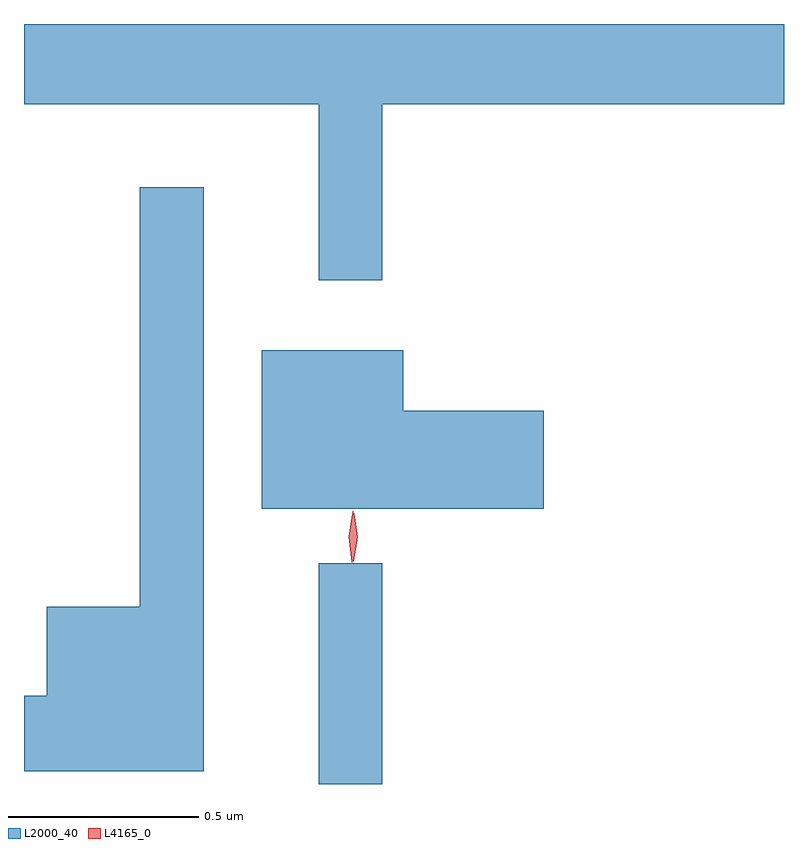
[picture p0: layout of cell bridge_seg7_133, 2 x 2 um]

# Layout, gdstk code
import gdstk
lib = gdstk.Library(unit=1e-6, precision=1e-09)
def R(c, l, rs):  # rectangles x0, y0, x1, y1
    for r in rs: c.add(gdstk.rectangle(r[:2], r[2:], *l))
def P(c, l, *ps):  # polygons
    for p in ps: c.add(gdstk.Polygon(p, *l))
L2000_40 = (2000, 40)
L4165_0 = (4165, 0)

bridge_seg7_133 = lib.new_cell('bridge_seg7_133')
R(bridge_seg7_133, L2000_40, [(1471.791,1745.827,1471.959,1746.408)])
P(bridge_seg7_133, L2000_40, [(1471.959,1747.616),(1473.016,1747.616),(1473.016,1747.827),(1471.016,1747.827),(1471.016,1747.616),(1471.791,1747.616),(1471.791,1747.153),(1471.959,1747.153)],
  [(1471.489,1747.398),(1471.321,1747.398),(1471.321,1746.294),(1471.076,1746.294),(1471.076,1746.059),(1471.016,1746.059),(1471.016,1745.861),(1471.489,1745.861)],
  [(1472.384,1746.809),(1472.014,1746.809),(1472.014,1746.969),(1471.641,1746.969),(1471.641,1746.551),(1472.384,1746.551)])
P(bridge_seg7_133, L4165_0, [(1471.879,1746.41),(1471.87,1746.478),(1471.881,1746.545),(1471.881,1746.546),(1471.882,1746.545),(1471.89,1746.478),(1471.88,1746.41),(1471.88,1746.41)],
  [(1471.883,1746.413),(1471.883,1746.413),(1471.874,1746.476),(1471.884,1746.539),(1471.885,1746.54),(1471.885,1746.539),(1471.894,1746.476),(1471.884,1746.413)])

lib.write_gds('bridge_seg7_133.gds')
